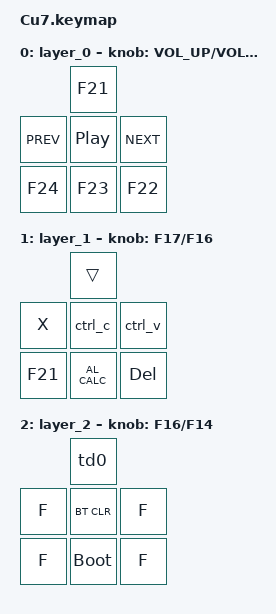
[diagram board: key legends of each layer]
#include <behaviors.dtsi>
#include <dt-bindings/zmk/keys.h>
#include <dt-bindings/zmk/bt.h>

#define layer_0 0
#define layer_1 1
#define layer_2 2

/ {
    behaviors {
         rot_kp: behavior_sensor_rotate_kp {
            compatible = "zmk,behavior-sensor-rotate-var";
            label = "ENC_KP";
            #sensor-binding-cells = <2>;
            bindings = <&kp>, <&kp>;
        };
        hm: homerow_mods {
            compatible = "zmk,behavior-hold-tap";
            label = "homerow mods";
            #binding-cells = <2>;
            tapping-term-ms = <500>;
            flavor = "tap-preferred";
            bindings = <&kp>, <&kp>;
        };
        td0: tap_dance_0 {
            compatible = "zmk,behavior-tap-dance";
            label = "TAP_DANCE_0";
            #binding-cells = <0>;
            tapping-term-ms = <500>;
            bindings = <&kp C_PP>, <&tog layer_1>;
        };
     combos {
        compatible = "zmk,combos";
        combo_esc {
            timeout-ms = <200>;
            key-positions = <0 5>;
            bindings = <&tog layer_2>;
           };
        };
    };
};

/ {
    macros {
        ctrl_c: ctrl_c {
            label = "ctrl_c";
            compatible = "zmk,behavior-macro";
            #binding-cells = <0>;
            bindings
                = <&macro_press &kp LCTRL>
                , <&macro_tap &kp C>
                , <&macro_release &kp LCTRL>
                ;
        };
        ctrl_v: ctrl_v {
            label = "ctrl_v";
            compatible = "zmk,behavior-macro";
            #binding-cells = <0>;
            bindings
                = <&macro_press &kp LCTRL>
                , <&macro_tap &kp V>
                , <&macro_release &kp LCTRL>
                ;
        };
    };
};

/ {
    keymap {
        compatible = "zmk,keymap";

        layer_0 {
            bindings = <
                    &kp F21
    &kp C_PREV      &kp C_PP     &kp C_NEXT     
     &kp F24         &kp F23         &kp F22
            >;
    sensor-bindings = <&inc_dec_kp C_VOLUME_UP C_VOLUME_DOWN>;

        };
        
        layer_1 {
            bindings = <
              &trans
    &kp X   &ctrl_c   &ctrl_v
    &kp F21   &kp C_AL_CALC  &kp DEL
            >;
     sensor-bindings = <&inc_dec_kp F17 F16>;

        };

   layer_2 {
            bindings = <
              &td0
    &kp F   &bt BT_CLR   &kp F
    &kp F   &bootloader  &kp F
            >;
   sensor-bindings = <&inc_dec_kp F16 F14>;

        };
    };
};
